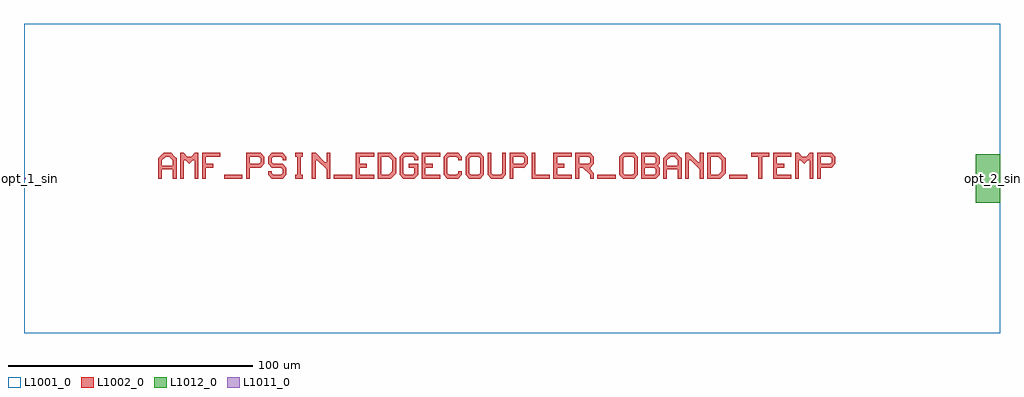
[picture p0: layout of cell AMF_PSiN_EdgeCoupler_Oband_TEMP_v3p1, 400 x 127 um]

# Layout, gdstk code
import gdstk
lib = gdstk.Library(unit=1e-6, precision=1e-09)
def R(c, l, rs):  # rectangles x0, y0, x1, y1
    for r in rs: c.add(gdstk.rectangle(r[:2], r[2:], *l))
def P(c, l, *ps):  # polygons
    for p in ps: c.add(gdstk.Polygon(p, *l))
L1001_0 = (1001, 0)
L1002_0 = (1002, 0)
L1011_0 = (1011, 0)
L1012_0 = (1012, 0)

amf_psin_edgecoupler_oba = lib.new_cell('AMF_PSiN_EdgeCoupler_Oband_TEMP_v3p1')
R(amf_psin_edgecoupler_oba, L1001_0, [(0,-63.5,400,63.5)])
R(amf_psin_edgecoupler_oba, L1002_0, [(82,0,89.5,1.5), (127,0,134.5,1.5), (235,0,242.5,1.5), (289,0,296.5,1.5)])
P(amf_psin_edgecoupler_oba, L1002_0, [(55,0),(55,8.25),(57.25,10.5),(60.25,10.5),(61.75,9),(58,9),(56.5,7.5),(56.5,5.25),(61,5.25),(61,7.5),(59.5,9),(61.75,9),(62.5,8.25),(62.5,0),(61,0),(61,3.75),(56.5,3.75),(56.5,0)],
  [(64,0),(64,10.5),(65.5,10.5),(67,9),(68.5,9),(70,10.5),(71.5,10.5),(71.5,0),(70,0),(70,7.5),(69.25,7.5),(67.75,6),(66.25,7.5),(65.5,7.5),(65.5,0)],
  [(73,0),(73,10.5),(80.5,10.5),(80.5,9),(74.5,9),(74.5,6),(77.5,6),(77.5,4.5),(74.5,4.5),(74.5,0)],
  [(91,0),(91,10.5),(97,10.5),(98.5,9),(98.5,6),(97,4.5),(92.5,4.5),(92.5,6),(96.25,6),(97,6.75),(97,8.25),(96.25,9),(92.5,9),(92.5,0)],
  [(101.5,0),(100,1.5),(100,3),(101.5,3),(101.5,2.25),(102.25,1.5),(105.25,1.5),(106,2.25),(106,3.75),(105.25,4.5),(101.5,4.5),(100,6),(100,9),(101.5,10.5),(106,10.5),(107.5,9),(107.5,7.5),(106,7.5),(106,8.25),(105.25,9),(102.25,9),(101.5,8.25),(101.5,6.75),(102.25,6),(106,6),(107.5,4.5),(107.5,1.5),(106,0)],
  [(111.25,0),(111.25,1.5),(112,1.5),(112,9),(111.25,9),(111.25,10.5),(114.25,10.5),(114.25,9),(113.5,9),(113.5,1.5),(114.25,1.5),(114.25,0)],
  [(118,0),(118,10.5),(119.5,10.5),(123.25,6.75),(124,6.75),(124,10.5),(125.5,10.5),(125.5,0),(124,0),(124,3.75),(120.25,7.5),(119.5,7.5),(119.5,0)],
  [(136,0),(136,10.5),(143.5,10.5),(143.5,9),(137.5,9),(137.5,6),(140.5,6),(140.5,4.5),(137.5,4.5),(137.5,1.5),(143.5,1.5),(143.5,0)],
  [(145,0),(145,10.5),(150.25,10.5),(151.75,9),(146.5,9),(146.5,1.5),(149.5,1.5),(151,3),(151,7.5),(149.5,9),(151.75,9),(152.5,8.25),(152.5,2.25),(150.25,0)],
  [(155.5,0),(154,1.5),(154,9),(155.5,10.5),(160,10.5),(161.5,9),(161.5,7.5),(160,7.5),(160,8.25),(159.25,9),(156.25,9),(155.5,8.25),(155.5,2.25),(156.25,1.5),(159.25,1.5),(160,2.25),(160,4.5),(157.75,4.5),(157.75,6),(161.5,6),(161.5,1.5),(160,0)],
  [(163,0),(163,10.5),(170.5,10.5),(170.5,9),(164.5,9),(164.5,6),(167.5,6),(167.5,4.5),(164.5,4.5),(164.5,1.5),(170.5,1.5),(170.5,0)],
  [(173.5,0),(172,1.5),(172,9),(173.5,10.5),(178,10.5),(179.5,9),(179.5,7.5),(178,7.5),(178,8.25),(177.25,9),(174.25,9),(173.5,8.25),(173.5,2.25),(174.25,1.5),(177.25,1.5),(178,2.25),(178,3),(179.5,3),(179.5,1.5),(178,0)],
  [(182.5,0),(181,1.5),(181,9),(182.5,10.5),(187,10.5),(188.5,9),(188.5,5.25),(187,5.25),(187,8.25),(186.25,9),(183.25,9),(182.5,8.25),(182.5,2.25),(183.25,1.5),(186.25,1.5),(187,2.25),(187,5.25),(188.5,5.25),(188.5,1.5),(187,0)],
  [(191.5,0),(190,1.5),(190,10.5),(191.5,10.5),(191.5,2.25),(192.25,1.5),(195.25,1.5),(196,2.25),(196,10.5),(197.5,10.5),(197.5,1.5),(196,0)],
  [(199,0),(199,10.5),(205,10.5),(206.5,9),(206.5,6),(205,4.5),(200.5,4.5),(200.5,6),(204.25,6),(205,6.75),(205,8.25),(204.25,9),(200.5,9),(200.5,0)],
  [(208,0),(208,10.5),(209.5,10.5),(209.5,1.5),(215.5,1.5),(215.5,0)],
  [(217,0),(217,10.5),(224.5,10.5),(224.5,9),(218.5,9),(218.5,6),(221.5,6),(221.5,4.5),(218.5,4.5),(218.5,1.5),(224.5,1.5),(224.5,0)],
  [(226,0),(226,10.5),(232,10.5),(233.5,9),(227.5,9),(227.5,6),(231.25,6),(232,6.75),(232,8.25),(231.25,9),(233.5,9),(233.5,6),(232,4.5),(232,3.75),(233.5,2.25),(233.5,0),(232,0),(232,1.5),(229,4.5),(227.5,4.5),(227.5,0)],
  [(245.5,0),(244,1.5),(244,9),(245.5,10.5),(250,10.5),(251.5,9),(251.5,5.25),(250,5.25),(250,8.25),(249.25,9),(246.25,9),(245.5,8.25),(245.5,2.25),(246.25,1.5),(249.25,1.5),(250,2.25),(250,5.25),(251.5,5.25),(251.5,1.5),(250,0)],
  [(253,0),(253,10.5),(259,10.5),(260.5,9),(254.5,9),(254.5,6),(258.25,6),(259,6.75),(259,8.25),(258.25,9),(260.5,9),(260.5,6),(259.75,5.25),(260.5,4.5),(254.5,4.5),(254.5,1.5),(258.25,1.5),(259,2.25),(259,3.75),(258.25,4.5),(260.5,4.5),(260.5,1.5),(259,0)],
  [(262,0),(262,8.25),(264.25,10.5),(267.25,10.5),(268.75,9),(265,9),(263.5,7.5),(263.5,5.25),(268,5.25),(268,7.5),(266.5,9),(268.75,9),(269.5,8.25),(269.5,0),(268,0),(268,3.75),(263.5,3.75),(263.5,0)],
  [(271,0),(271,10.5),(272.5,10.5),(276.25,6.75),(277,6.75),(277,10.5),(278.5,10.5),(278.5,0),(277,0),(277,3.75),(273.25,7.5),(272.5,7.5),(272.5,0)],
  [(280,0),(280,10.5),(285.25,10.5),(286.75,9),(281.5,9),(281.5,1.5),(284.5,1.5),(286,3),(286,7.5),(284.5,9),(286.75,9),(287.5,8.25),(287.5,2.25),(285.25,0)],
  [(301,0),(301,9),(298,9),(298,10.5),(305.5,10.5),(305.5,9),(302.5,9),(302.5,0)],
  [(307,0),(307,10.5),(314.5,10.5),(314.5,9),(308.5,9),(308.5,6),(311.5,6),(311.5,4.5),(308.5,4.5),(308.5,1.5),(314.5,1.5),(314.5,0)],
  [(316,0),(316,10.5),(317.5,10.5),(319,9),(320.5,9),(322,10.5),(323.5,10.5),(323.5,0),(322,0),(322,7.5),(321.25,7.5),(319.75,6),(318.25,7.5),(317.5,7.5),(317.5,0)],
  [(325,0),(325,10.5),(331,10.5),(332.5,9),(332.5,6),(331,4.5),(326.5,4.5),(326.5,6),(330.25,6),(331,6.75),(331,8.25),(330.25,9),(326.5,9),(326.5,0)])
R(amf_psin_edgecoupler_oba, L1011_0, [(0,-0.4,0.8,0.4)])
R(amf_psin_edgecoupler_oba, L1012_0, [(390,-10,400,10)])
amf_psin_edgecoupler_oba.add(gdstk.Label('opt_1_sin', (0,0), layer=1011, texttype=0))
amf_psin_edgecoupler_oba.add(gdstk.Label('opt_2_sin', (400,0), layer=1012, texttype=0))

lib.write_gds('AMF_PSiN_EdgeCoupler_Oband_TEMP_v3p1.gds')
